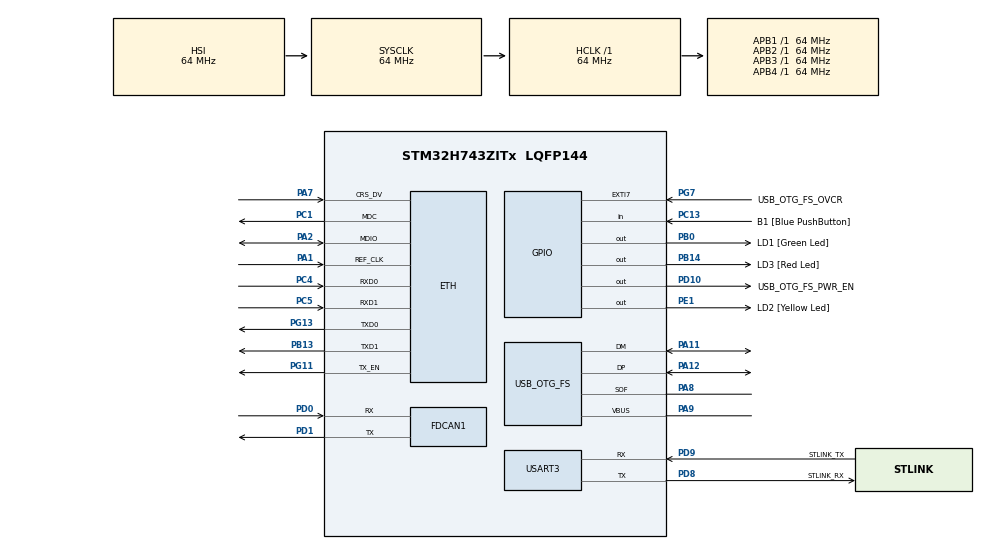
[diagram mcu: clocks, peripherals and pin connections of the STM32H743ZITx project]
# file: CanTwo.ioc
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ETH.MediaInterface=HAL_ETH_RMII_MODE
FDCAN1.StdFiltersNbr=1
Mcu.Family=STM32H7
Mcu.Name=STM32H743ZITx
Mcu.Package=LQFP144
NVIC.PriorityGroup=NVIC_PRIORITYGROUP_4
PA1.Mode=RMII
PA1.Signal=ETH_REF_CLK
PA11.Mode=Device_Only
PA11.Signal=USB_OTG_FS_DM
PA12.Mode=Device_Only
PA12.Signal=USB_OTG_FS_DP
PA2.Mode=RMII
PA2.Signal=ETH_MDIO
PA7.Mode=RMII
PA7.Signal=ETH_CRS_DV
PA8.Mode=Activate_SOF_FS
PA8.Signal=USB_OTG_FS_SOF
PA9.Mode=Activate_VBUS
PA9.Signal=USB_OTG_FS_VBUS
PB0.GPIO_Label=LD1 [Green Led]
PB0.Signal=GPIO_Output
PB13.Mode=RMII
PB13.Signal=ETH_TXD1
PB14.GPIO_Label=LD3 [Red Led]
PB14.Signal=GPIO_Output
PC1.Mode=RMII
PC1.Signal=ETH_MDC
PC13.GPIO_Label=B1 [Blue PushButton]
PC13.Signal=GPIO_Input
PC14-OSC32_IN\ (OSC32_IN).Mode=LSE-External-Oscillator
PC14-OSC32_IN\ (OSC32_IN).Signal=RCC_OSC32_IN
PC15-OSC32_OUT\ (OSC32_OUT).Mode=LSE-External-Oscillator
PC15-OSC32_OUT\ (OSC32_OUT).Signal=RCC_OSC32_OUT
PC4.Mode=RMII
PC4.Signal=ETH_RXD0
PC5.Mode=RMII
PC5.Signal=ETH_RXD1
PD0.Mode=FDCAN_Activate
PD0.Signal=FDCAN1_RX
PD1.Mode=FDCAN_Activate
PD1.Signal=FDCAN1_TX
PD10.GPIO_Label=USB_OTG_FS_PWR_EN
PD10.Signal=GPIO_Output
PD8.GPIO_Label=STLINK_RX
PD8.Mode=Asynchronous
PD8.Signal=USART3_TX
PD9.GPIO_Label=STLINK_TX
PD9.Mode=Asynchronous
PD9.Signal=USART3_RX
PE1.GPIO_Label=LD2 [Yellow Led]
PE1.Signal=GPIO_Output
PG11.Mode=RMII
PG11.Signal=ETH_TX_EN
PG13.Mode=RMII
PG13.Signal=ETH_TXD0
PG7.GPIO_Label=USB_OTG_FS_OVCR
PG7.Signal=GPXTI7
PH0-OSC_IN\ (PH0).Mode=HSE-External-Clock-Source
PH0-OSC_IN\ (PH0).Signal=RCC_OSC_IN
PH1-OSC_OUT\ (PH1).Signal=RCC_OSC_OUT
ProjectManager.HeapSize=0x200
ProjectManager.StackSize=0x400
ProjectManager.TargetToolchain=STM32CubeIDE
RCC.ADCFreq_Value=16125000
RCC.APB1Freq_Value=64000000
RCC.APB2Freq_Value=64000000
RCC.APB3Freq_Value=64000000
RCC.APB4Freq_Value=64000000
RCC.CortexFreq_Value=64000000
RCC.DIVM1=1
RCC.DIVN1=24
RCC.DIVQ1=4
RCC.HCLKFreq_Value=64000000
RCC.HSE_VALUE=8000000
RCC.PLLFRACN=0
RCC.PWR_Regulator_Voltage_Scale=PWR_REGULATOR_VOLTAGE_SCALE2
RCC.SYSCLKFreq_VALUE=64000000
RCC.USBFreq_Value=48000000
USART3.VirtualMode-Asynchronous=VM_ASYNC
USB_OTG_FS.VirtualMode=Device_Only
board=NUCLEO-H743ZI2

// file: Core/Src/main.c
/* USER CODE BEGIN Header */
/**
  ******************************************************************************
  * @file           : main.c
  * @brief          : Main program body
  ******************************************************************************
  * @attention
  *
  * Copyright (c) 2022 STMicroelectronics.
  * All rights reserved.
  *
  * This software is licensed under terms that can be found in the LICENSE file
  * in the root directory of this software component.
  * If no LICENSE file comes with this software, it is provided AS-IS.
  *
  ******************************************************************************
  */
/* USER CODE END Header */
#include "main.h"
#include "string.h"

/* USER CODE BEGIN Includes */
#include <stdio.h>

/* USER CODE END Includes */

/* USER CODE BEGIN PM */
#if defined (__ICCARM__) || defined (__ARMCC_VERSION)
#define PUTCHAR_PROTOTYPE int fputc(int ch, FILE *f)
#define GETCHAR_PROTOTYPE int fgetc(FILE *f)
#elif defined(__GNUC__)
#define PUTCHAR_PROTOTYPE int __io_putchar(int ch)
#define GETCHAR_PROTOTYPE int __io_getchar(void)

GETCHAR_PROTOTYPE;
#endif

static uint32_t BufferCmp8b(uint8_t* pBuffer1, uint8_t* pBuffer2, uint16_t BufferLength);
/* USER CODE END PM */

#if defined ( __ICCARM__ ) /*!< IAR Compiler */
#pragma location=0x30000000
ETH_DMADescTypeDef  DMARxDscrTab[ETH_RX_DESC_CNT]; /* Ethernet Rx DMA Descriptors */
#pragma location=0x30000200
ETH_DMADescTypeDef  DMATxDscrTab[ETH_TX_DESC_CNT]; /* Ethernet Tx DMA Descriptors */
#pragma location=0x30000260
uint8_t Rx_Buff[ETH_RX_DESC_CNT][ETH_MAX_PACKET_SIZE]; /* Ethernet Receive Buffers */

#elif defined ( __CC_ARM )  /* MDK ARM Compiler */

__attribute__((at(0x30000000))) ETH_DMADescTypeDef  DMARxDscrTab[ETH_RX_DESC_CNT]; /* Ethernet Rx DMA Descriptors */
__attribute__((at(0x30000200))) ETH_DMADescTypeDef  DMATxDscrTab[ETH_TX_DESC_CNT]; /* Ethernet Tx DMA Descriptors */
__attribute__((at(0x30000260))) uint8_t Rx_Buff[ETH_RX_DESC_CNT][ETH_MAX_PACKET_SIZE]; /* Ethernet Receive Buffer */

#elif defined ( __GNUC__ ) /* GNU Compiler */
ETH_DMADescTypeDef DMARxDscrTab[ETH_RX_DESC_CNT] __attribute__((section(".RxDecripSection"))); /* Ethernet Rx DMA Descriptors */
ETH_DMADescTypeDef DMATxDscrTab[ETH_TX_DESC_CNT] __attribute__((section(".TxDecripSection")));   /* Ethernet Tx DMA Descriptors */
uint8_t Rx_Buff[ETH_RX_DESC_CNT][ETH_MAX_PACKET_SIZE] __attribute__((section(".RxArraySection"))); /* Ethernet Receive Buffers */
#endif

ETH_TxPacketConfig TxConfig;

ETH_HandleTypeDef heth;

FDCAN_HandleTypeDef hfdcan1;

UART_HandleTypeDef huart3;

PCD_HandleTypeDef hpcd_USB_OTG_FS;

/* USER CODE BEGIN PV */
FDCAN_FilterTypeDef sFilterConfig;
FDCAN_TxHeaderTypeDef TxHeader;
FDCAN_RxHeaderTypeDef RxHeader;
uint8_t TxData[] = {0x10, 0x32, 0x54, 0x76, 0x98, 0x00, 0x11, 0x22, 0x33, 0x44, 0x55, 0x66, 0x77, 0x88, 0x99, 0x00};
uint8_t RxData[16];
/* USER CODE END PV */

void SystemClock_Config(void);
static void MX_GPIO_Init(void);
static void MX_ETH_Init(void);
static void MX_USART3_UART_Init(void);
static void MX_USB_OTG_FS_PCD_Init(void);
static void MX_FDCAN1_Init(void);

int main(void)
{

  /* MCU Configuration--------------------------------------------------------*/

  /* Reset of all peripherals, Initializes the Flash interface and the Systick. */
  HAL_Init();

  /* Configure the system clock */
  SystemClock_Config();

  /* Initialize all configured peripherals */
  MX_GPIO_Init();
  MX_ETH_Init();
  MX_USART3_UART_Init();
  MX_USB_OTG_FS_PCD_Init();
  MX_FDCAN1_Init();
  /* USER CODE BEGIN 2 */
	printf("CAN transmissions on device 1\n");
	fflush(stdout);

	/* Configure reception filter to Rx FIFO 0 */
	sFilterConfig.IdType = FDCAN_STANDARD_ID;
	sFilterConfig.FilterIndex = 0;
	sFilterConfig.FilterType = FDCAN_FILTER_MASK;
	sFilterConfig.FilterConfig = FDCAN_FILTER_TO_RXFIFO0;
	sFilterConfig.FilterID1 = 0x111;
	sFilterConfig.FilterID2 = 0x7FF;
	if (HAL_FDCAN_ConfigFilter(&hfdcan1, &sFilterConfig) != HAL_OK)
	{
		Error_Handler();
	}

	/* Configure global filter:
   Filter all remote frames with STD and EXT ID
   Reject non matching frames with STD ID and EXT ID */
	if (HAL_FDCAN_ConfigGlobalFilter(&hfdcan1, FDCAN_REJECT, FDCAN_REJECT, FDCAN_FILTER_REMOTE, FDCAN_FILTER_REMOTE) != HAL_OK)
	{
		Error_Handler();
	}

	/* Prepare Tx message Header */
	TxHeader.Identifier = 0x111;
	TxHeader.IdType = FDCAN_STANDARD_ID;
	TxHeader.TxFrameType = FDCAN_DATA_FRAME;
	TxHeader.DataLength = FDCAN_DLC_BYTES_16;
	TxHeader.ErrorStateIndicator = FDCAN_ESI_ACTIVE;
	TxHeader.BitRateSwitch = FDCAN_BRS_OFF;
	TxHeader.FDFormat = FDCAN_FD_CAN;
	TxHeader.TxEventFifoControl = FDCAN_NO_TX_EVENTS;
	TxHeader.MessageMarker = 0;

	/* Configure and enable Tx Delay Compensation, required for BRS mode.
   TdcOffset default recommended value: DataTimeSeg1 * DataPrescaler
   TdcFilter default recommended value: 0 */
	if (HAL_FDCAN_ConfigTxDelayCompensation(&hfdcan1, 5, 0) != HAL_OK)
	{
		Error_Handler();
	}
	if (HAL_FDCAN_EnableTxDelayCompensation(&hfdcan1) != HAL_OK)
	{
		Error_Handler();
	}

	/* Start the FDCAN module */
	if (HAL_FDCAN_Start(&hfdcan1) != HAL_OK)
	{
		Error_Handler();
	}

//	if (HAL_FDCAN_AddMessageToTxFifoQ(&hfdcan1, &TxHeader, TxData) != HAL_OK)
//	{
//		Error_Handler();
//	}

  /* USER CODE END 2 */

  /* Infinite loop */
  /* USER CODE BEGIN WHILE */
  while (1)
  {
		/* Wait for one message received */
		while (HAL_FDCAN_GetRxFifoFillLevel(&hfdcan1, FDCAN_RX_FIFO0) < 1) {}

		/* Retrieve Rx message from RX FIFO0 */
		if (HAL_FDCAN_GetRxMessage(&hfdcan1, FDCAN_RX_FIFO0, &RxHeader, RxData) != HAL_OK)
		{
			Error_Handler();
		}

		/* Compare payload to expected data */
		if (BufferCmp8b(TxData, RxData, 16) != 0)
		{
			Error_Handler();
		}
		else
		{
			/* Turn LED1 on */
			printf("Correct data recieved.");
		}
    /* USER CODE END WHILE */

  }
}

void SystemClock_Config(void)
{
  RCC_OscInitTypeDef RCC_OscInitStruct = {0};
  RCC_ClkInitTypeDef RCC_ClkInitStruct = {0};

  /** Supply configuration update enable
  */
  HAL_PWREx_ConfigSupply(PWR_LDO_SUPPLY);

  /** Configure the main internal regulator output voltage
  */
  __HAL_PWR_VOLTAGESCALING_CONFIG(PWR_REGULATOR_VOLTAGE_SCALE2);

  while(!__HAL_PWR_GET_FLAG(PWR_FLAG_VOSRDY)) {}

  /** Initializes the RCC Oscillators according to the specified parameters
  * in the RCC_OscInitTypeDef structure.
  */
  RCC_OscInitStruct.OscillatorType = RCC_OSCILLATORTYPE_HSI|RCC_OSCILLATORTYPE_HSE;
  RCC_OscInitStruct.HSEState = RCC_HSE_BYPASS;
  RCC_OscInitStruct.HSIState = RCC_HSI_DIV1;
  RCC_OscInitStruct.HSICalibrationValue = RCC_HSICALIBRATION_DEFAULT;
  RCC_OscInitStruct.PLL.PLLState = RCC_PLL_ON;
  RCC_OscInitStruct.PLL.PLLSource = RCC_PLLSOURCE_HSE;
  RCC_OscInitStruct.PLL.PLLM = 1;
  RCC_OscInitStruct.PLL.PLLN = 24;
  RCC_OscInitStruct.PLL.PLLP = 2;
  RCC_OscInitStruct.PLL.PLLQ = 4;
  RCC_OscInitStruct.PLL.PLLR = 2;
  RCC_OscInitStruct.PLL.PLLRGE = RCC_PLL1VCIRANGE_3;
  RCC_OscInitStruct.PLL.PLLVCOSEL = RCC_PLL1VCOWIDE;
  RCC_OscInitStruct.PLL.PLLFRACN = 0;
  if (HAL_RCC_OscConfig(&RCC_OscInitStruct) != HAL_OK)
  {
    Error_Handler();
  }

  /** Initializes the CPU, AHB and APB buses clocks
  */
  RCC_ClkInitStruct.ClockType = RCC_CLOCKTYPE_HCLK|RCC_CLOCKTYPE_SYSCLK
                              |RCC_CLOCKTYPE_PCLK1|RCC_CLOCKTYPE_PCLK2
                              |RCC_CLOCKTYPE_D3PCLK1|RCC_CLOCKTYPE_D1PCLK1;
  RCC_ClkInitStruct.SYSCLKSource = RCC_SYSCLKSOURCE_HSI;
  RCC_ClkInitStruct.SYSCLKDivider = RCC_SYSCLK_DIV1;
  RCC_ClkInitStruct.AHBCLKDivider = RCC_HCLK_DIV1;
  RCC_ClkInitStruct.APB3CLKDivider = RCC_APB3_DIV1;
  RCC_ClkInitStruct.APB1CLKDivider = RCC_APB1_DIV1;
  RCC_ClkInitStruct.APB2CLKDivider = RCC_APB2_DIV1;
  RCC_ClkInitStruct.APB4CLKDivider = RCC_APB4_DIV1;

  if (HAL_RCC_ClockConfig(&RCC_ClkInitStruct, FLASH_LATENCY_1) != HAL_OK)
  {
    Error_Handler();
  }
}

static void MX_ETH_Init(void)
{

   static uint8_t MACAddr[6];

  heth.Instance = ETH;
  MACAddr[0] = 0x00;
  MACAddr[1] = 0x80;
  MACAddr[2] = 0xE1;
  MACAddr[3] = 0x00;
  MACAddr[4] = 0x00;
  MACAddr[5] = 0x00;
  heth.Init.MACAddr = &MACAddr[0];
  heth.Init.MediaInterface = HAL_ETH_RMII_MODE;
  heth.Init.TxDesc = DMATxDscrTab;
  heth.Init.RxDesc = DMARxDscrTab;
  heth.Init.RxBuffLen = 1524;

  if (HAL_ETH_Init(&heth) != HAL_OK)
  {
    Error_Handler();
  }

  memset(&TxConfig, 0 , sizeof(ETH_TxPacketConfig));
  TxConfig.Attributes = ETH_TX_PACKETS_FEATURES_CSUM | ETH_TX_PACKETS_FEATURES_CRCPAD;
  TxConfig.ChecksumCtrl = ETH_CHECKSUM_IPHDR_PAYLOAD_INSERT_PHDR_CALC;
  TxConfig.CRCPadCtrl = ETH_CRC_PAD_INSERT;

}

static void MX_FDCAN1_Init(void)
{

  hfdcan1.Instance = FDCAN1;
  hfdcan1.Init.FrameFormat = FDCAN_FRAME_CLASSIC;
  hfdcan1.Init.Mode = FDCAN_MODE_NORMAL;
  hfdcan1.Init.AutoRetransmission = DISABLE;
  hfdcan1.Init.TransmitPause = DISABLE;
  hfdcan1.Init.ProtocolException = DISABLE;
  hfdcan1.Init.NominalPrescaler = 1;
  hfdcan1.Init.NominalSyncJumpWidth = 1;
  hfdcan1.Init.NominalTimeSeg1 = 2;
  hfdcan1.Init.NominalTimeSeg2 = 2;
  hfdcan1.Init.DataPrescaler = 1;
  hfdcan1.Init.DataSyncJumpWidth = 1;
  hfdcan1.Init.DataTimeSeg1 = 1;
  hfdcan1.Init.DataTimeSeg2 = 1;
  hfdcan1.Init.MessageRAMOffset = 0;
  hfdcan1.Init.StdFiltersNbr = 1;
  hfdcan1.Init.ExtFiltersNbr = 0;
  hfdcan1.Init.RxFifo0ElmtsNbr = 0;
  hfdcan1.Init.RxFifo0ElmtSize = FDCAN_DATA_BYTES_8;
  hfdcan1.Init.RxFifo1ElmtsNbr = 0;
  hfdcan1.Init.RxFifo1ElmtSize = FDCAN_DATA_BYTES_8;
  hfdcan1.Init.RxBuffersNbr = 0;
  hfdcan1.Init.RxBufferSize = FDCAN_DATA_BYTES_8;
  hfdcan1.Init.TxEventsNbr = 0;
  hfdcan1.Init.TxBuffersNbr = 0;
  hfdcan1.Init.TxFifoQueueElmtsNbr = 0;
  hfdcan1.Init.TxFifoQueueMode = FDCAN_TX_FIFO_OPERATION;
  hfdcan1.Init.TxElmtSize = FDCAN_DATA_BYTES_8;
  if (HAL_FDCAN_Init(&hfdcan1) != HAL_OK)
  {
    Error_Handler();
  }

}

static void MX_USART3_UART_Init(void)
{

  huart3.Instance = USART3;
  huart3.Init.BaudRate = 115200;
  huart3.Init.WordLength = UART_WORDLENGTH_8B;
  huart3.Init.StopBits = UART_STOPBITS_1;
  huart3.Init.Parity = UART_PARITY_NONE;
  huart3.Init.Mode = UART_MODE_TX_RX;
  huart3.Init.HwFlowCtl = UART_HWCONTROL_NONE;
  huart3.Init.OverSampling = UART_OVERSAMPLING_16;
  huart3.Init.OneBitSampling = UART_ONE_BIT_SAMPLE_DISABLE;
  huart3.Init.ClockPrescaler = UART_PRESCALER_DIV1;
  huart3.AdvancedInit.AdvFeatureInit = UART_ADVFEATURE_NO_INIT;
  if (HAL_UART_Init(&huart3) != HAL_OK)
  {
    Error_Handler();
  }
  if (HAL_UARTEx_SetTxFifoThreshold(&huart3, UART_TXFIFO_THRESHOLD_1_8) != HAL_OK)
  {
    Error_Handler();
  }
  if (HAL_UARTEx_SetRxFifoThreshold(&huart3, UART_RXFIFO_THRESHOLD_1_8) != HAL_OK)
  {
    Error_Handler();
  }
  if (HAL_UARTEx_DisableFifoMode(&huart3) != HAL_OK)
  {
    Error_Handler();
  }

}

static void MX_USB_OTG_FS_PCD_Init(void)
{

  hpcd_USB_OTG_FS.Instance = USB_OTG_FS;
  hpcd_USB_OTG_FS.Init.dev_endpoints = 9;
  hpcd_USB_OTG_FS.Init.speed = PCD_SPEED_FULL;
  hpcd_USB_OTG_FS.Init.dma_enable = DISABLE;
  hpcd_USB_OTG_FS.Init.phy_itface = PCD_PHY_EMBEDDED;
  hpcd_USB_OTG_FS.Init.Sof_enable = ENABLE;
  hpcd_USB_OTG_FS.Init.low_power_enable = DISABLE;
  hpcd_USB_OTG_FS.Init.lpm_enable = DISABLE;
  hpcd_USB_OTG_FS.Init.battery_charging_enable = ENABLE;
  hpcd_USB_OTG_FS.Init.vbus_sensing_enable = ENABLE;
  hpcd_USB_OTG_FS.Init.use_dedicated_ep1 = DISABLE;
  if (HAL_PCD_Init(&hpcd_USB_OTG_FS) != HAL_OK)
  {
    Error_Handler();
  }

}

static void MX_GPIO_Init(void)
{
  GPIO_InitTypeDef GPIO_InitStruct = {0};

  /* GPIO Ports Clock Enable */
  __HAL_RCC_GPIOC_CLK_ENABLE();
  __HAL_RCC_GPIOH_CLK_ENABLE();
  __HAL_RCC_GPIOA_CLK_ENABLE();
  __HAL_RCC_GPIOB_CLK_ENABLE();
  __HAL_RCC_GPIOD_CLK_ENABLE();
  __HAL_RCC_GPIOG_CLK_ENABLE();
  __HAL_RCC_GPIOE_CLK_ENABLE();

  /*Configure GPIO pin Output Level */
  HAL_GPIO_WritePin(GPIOB, LD1_Pin|LD3_Pin, GPIO_PIN_RESET);

  /*Configure GPIO pin Output Level */
  HAL_GPIO_WritePin(USB_OTG_FS_PWR_EN_GPIO_Port, USB_OTG_FS_PWR_EN_Pin, GPIO_PIN_RESET);

  /*Configure GPIO pin Output Level */
  HAL_GPIO_WritePin(LD2_GPIO_Port, LD2_Pin, GPIO_PIN_RESET);

  /*Configure GPIO pin : B1_Pin */
  GPIO_InitStruct.Pin = B1_Pin;
  GPIO_InitStruct.Mode = GPIO_MODE_INPUT;
  GPIO_InitStruct.Pull = GPIO_NOPULL;
  HAL_GPIO_Init(B1_GPIO_Port, &GPIO_InitStruct);

  /*Configure GPIO pins : LD1_Pin LD3_Pin */
  GPIO_InitStruct.Pin = LD1_Pin|LD3_Pin;
  GPIO_InitStruct.Mode = GPIO_MODE_OUTPUT_PP;
  GPIO_InitStruct.Pull = GPIO_NOPULL;
  GPIO_InitStruct.Speed = GPIO_SPEED_FREQ_LOW;
  HAL_GPIO_Init(GPIOB, &GPIO_InitStruct);

  /*Configure GPIO pin : USB_OTG_FS_PWR_EN_Pin */
  GPIO_InitStruct.Pin = USB_OTG_FS_PWR_EN_Pin;
  GPIO_InitStruct.Mode = GPIO_MODE_OUTPUT_PP;
  GPIO_InitStruct.Pull = GPIO_NOPULL;
  GPIO_InitStruct.Speed = GPIO_SPEED_FREQ_LOW;
  HAL_GPIO_Init(USB_OTG_FS_PWR_EN_GPIO_Port, &GPIO_InitStruct);

  /*Configure GPIO pin : USB_OTG_FS_OVCR_Pin */
  GPIO_InitStruct.Pin = USB_OTG_FS_OVCR_Pin;
  GPIO_InitStruct.Mode = GPIO_MODE_IT_RISING;
  GPIO_InitStruct.Pull = GPIO_NOPULL;
  HAL_GPIO_Init(USB_OTG_FS_OVCR_GPIO_Port, &GPIO_InitStruct);

  /*Configure GPIO pin : LD2_Pin */
  GPIO_InitStruct.Pin = LD2_Pin;
  GPIO_InitStruct.Mode = GPIO_MODE_OUTPUT_PP;
  GPIO_InitStruct.Pull = GPIO_NOPULL;
  GPIO_InitStruct.Speed = GPIO_SPEED_FREQ_LOW;
  HAL_GPIO_Init(LD2_GPIO_Port, &GPIO_InitStruct);

}

/* USER CODE BEGIN 4 */

/**
 * @brief EXTI line detection callback
 * @param GPIO_Pin: Specifies the pins connected EXTI line
 * @retval None
 */
void HAL_GPIO_EXTI_Falling_Callback(uint16_t GPIO_Pin)
{
	{
		/* Turn LED1 off */

		/* Add message to TX FIFO */

		/* Delay to avoid rebound */
		HAL_Delay(100);
	}
}

/**
 * @brief Compares two buffers.
 * @par Input
 *  - pBuffer1, pBuffer2: buffers to be compared.
 *  - BufferLength: buffer's length
 * @par Output
 * None.
 * @retval
 *   0: pBuffer1 identical to pBuffer2
 *   1: pBuffer1 differs from pBuffer2
 */
static uint32_t BufferCmp8b(uint8_t* pBuffer1, uint8_t* pBuffer2, uint16_t BufferLength)
{
	while(BufferLength--)
	{
		if(*pBuffer1 != *pBuffer2)
		{
			return 1;
		}

		pBuffer1++;
		pBuffer2++;
	}
	return 0;
}
/**
 * @brief  Retargets the C library printf function to the USART.
 * @param  None
 * @retval None
 */
PUTCHAR_PROTOTYPE
{
	/* Place your implementation of fputc here */
	/* e.g. write a character to the USART1 and Loop until the end of transmission */
	HAL_UART_Transmit(&huart3, (uint8_t *)&ch, 1, 0xFFFF);

	return ch;
}

GETCHAR_PROTOTYPE
{
	uint8_t ch = 0;
	/* Place your implementation of fgetc here */

	/* Clear the Overrun flag just before receiving the first character */
	__HAL_UART_CLEAR_OREFLAG(&huart3);

	/* Wait for reception of a character on the USART1 RX line
     and echo this character on console */
	HAL_UART_Receive(&huart3, (uint8_t *)&ch, 1, 0xFFFF);
	HAL_UART_Transmit(&huart3, (uint8_t *)&ch, 1, 0xFFFF);
	return ch;
}

/* USER CODE END 4 */

void Error_Handler(void)
{
  __disable_irq();
  while (1)
  {
  }
}
